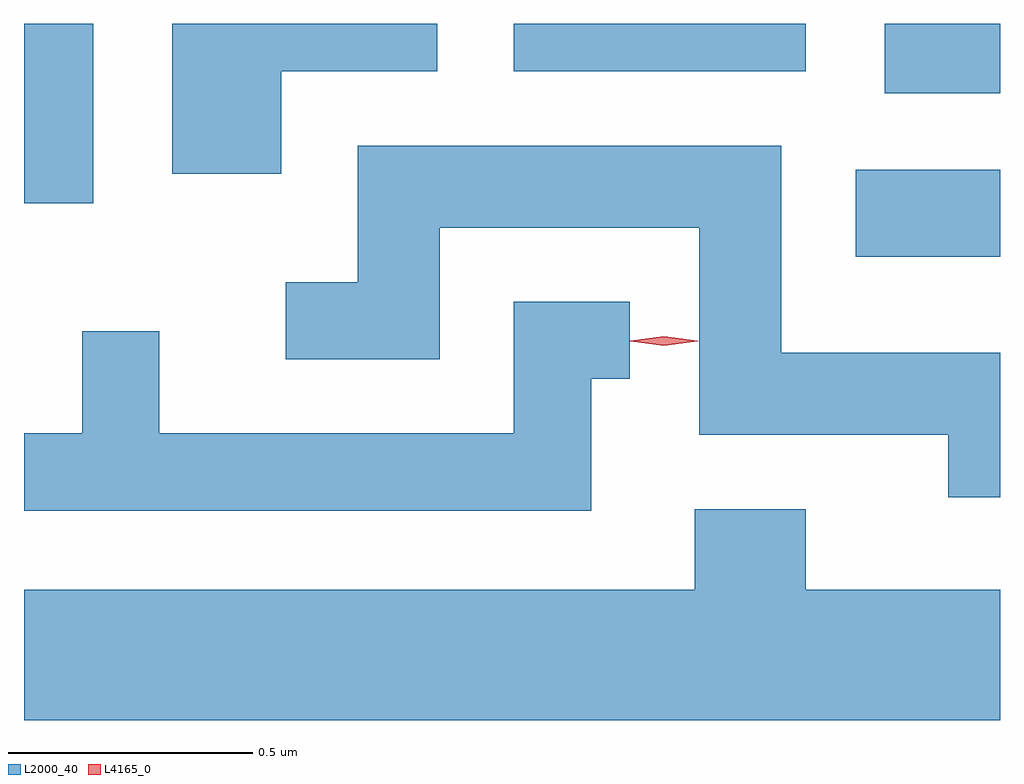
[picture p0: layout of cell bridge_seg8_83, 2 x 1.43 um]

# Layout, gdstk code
import gdstk
lib = gdstk.Library(unit=1e-6, precision=1e-09)
def R(c, l, rs):  # rectangles x0, y0, x1, y1
    for r in rs: c.add(gdstk.rectangle(r[:2], r[2:], *l))
def P(c, l, *ps):  # polygons
    for p in ps: c.add(gdstk.Polygon(p, *l))
L2000_40 = (2000, 40)
L4165_0 = (4165, 0)

bridge_seg8_83 = lib.new_cell('bridge_seg8_83')
R(bridge_seg8_83, L2000_40, [(1611.651,1808.506,1611.947,1808.684), (1609.947,1808.616,1610.089,1808.984), (1611.711,1808.841,1611.947,1808.984), (1610.951,1808.886,1611.549,1808.984)])
P(bridge_seg8_83, L2000_40, [(1610.474,1808.886),(1610.794,1808.886),(1610.794,1808.984),(1610.251,1808.984),(1610.251,1808.676),(1610.474,1808.676)],
  [(1611.947,1808.309),(1611.499,1808.309),(1611.499,1808.734),(1610.631,1808.734),(1610.631,1808.454),(1610.483,1808.454),(1610.483,1808.296),(1610.799,1808.296),(1610.799,1808.566),(1611.331,1808.566),(1611.331,1808.141),(1611.841,1808.141),(1611.841,1808.013),(1611.947,1808.013)],
  [(1611.109,1808.256),(1611.188,1808.256),(1611.188,1808.414),(1610.951,1808.414),(1610.951,1808.144),(1610.224,1808.144),(1610.224,1808.353),(1610.066,1808.353),(1610.066,1808.144),(1609.947,1808.144),(1609.947,1807.986),(1611.109,1807.986)],
  [(1611.947,1807.824),(1611.549,1807.824),(1611.549,1807.989),(1611.321,1807.989),(1611.321,1807.824),(1609.947,1807.824),(1609.947,1807.556),(1611.947,1807.556)])
P(bridge_seg8_83, L4165_0, [(1611.258,1808.324),(1611.189,1808.333),(1611.189,1808.333),(1611.189,1808.334),(1611.258,1808.343),(1611.328,1808.334),(1611.328,1808.334),(1611.328,1808.333)])

lib.write_gds('bridge_seg8_83.gds')
